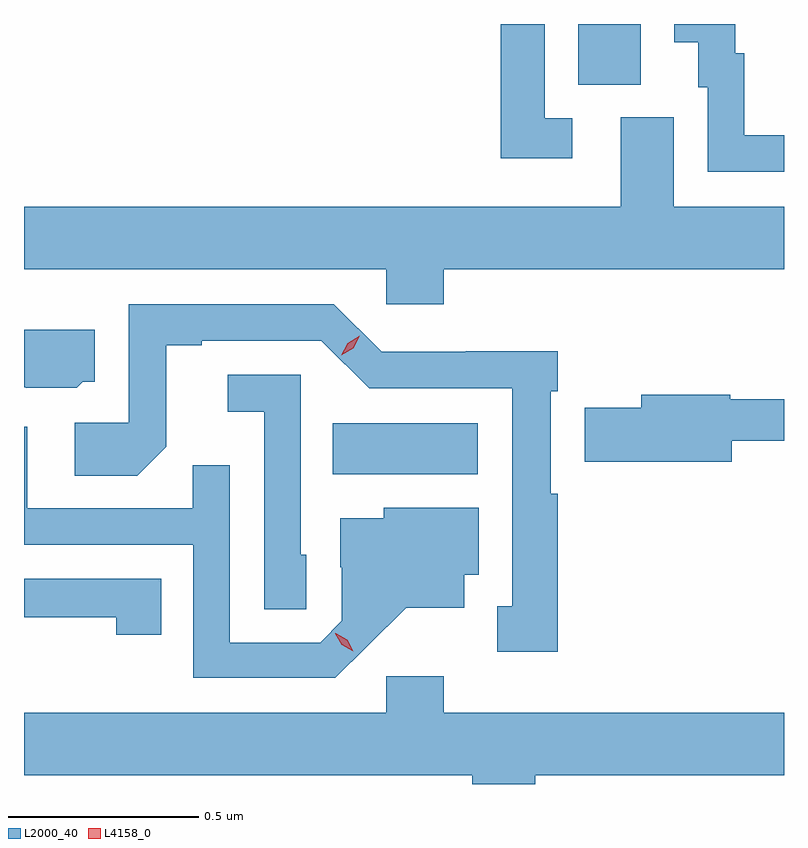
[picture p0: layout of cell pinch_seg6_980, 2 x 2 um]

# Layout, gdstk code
import gdstk
lib = gdstk.Library(unit=1e-6, precision=1e-09)
def R(c, l, rs):  # rectangles x0, y0, x1, y1
    for r in rs: c.add(gdstk.rectangle(r[:2], r[2:], *l))
def P(c, l, *ps):  # polygons
    for p in ps: c.add(gdstk.Polygon(p, *l))
L2000_40 = (2000, 40)
L4158_0 = (4158, 0)

pinch_seg6_980 = lib.new_cell('pinch_seg6_980')
R(pinch_seg6_980, L2000_40, [(331.618,938.804,331.999,938.938), (332.264,939.829,332.428,939.989)])
P(pinch_seg6_980, L2000_40, [(332.248,939.741),(332.175,939.741),(332.175,939.989),(332.059,939.989),(332.059,939.636),(332.248,939.636)],
  [(332.805,939.696),(332.701,939.696),(332.701,939.912),(332.677,939.912),(332.677,939.989),(332.516,939.989),(332.516,939.941),(332.579,939.941),(332.579,939.822),(332.604,939.822),(332.604,939.6),(332.805,939.6)],
  [(331.91,939.344),(332.805,939.344),(332.805,939.508),(332.515,939.508),(332.515,939.744),(332.375,939.744),(332.375,939.508),(330.805,939.508),(330.805,939.344),(331.758,939.344),(331.758,939.251),(331.91,939.251)],
  [(332.209,938.753),(332.191,938.753),(332.191,939.023),(332.209,939.023),(332.209,939.128),(331.968,939.128),(331.968,939.126),(331.746,939.126),(331.62,939.252),(331.08,939.252),(331.08,938.94),(330.939,938.94),(330.939,938.8),(331.103,938.8),(331.179,938.876),(331.179,939.144),(331.273,939.144),(331.273,939.156),(331.587,939.156),(331.713,939.03),(332.09,939.03),(332.09,938.457),(332.051,938.457),(332.051,938.337),(332.209,938.337)],
  [(330.96,939.048),(330.991,939.048),(330.991,939.184),(330.805,939.184),(330.805,939.033),(330.81,939.033),(330.81,939.032),(330.944,939.032)],
  [(331.548,938.592),(331.533,938.592),(331.533,939.066),(331.341,939.066),(331.341,938.969),(331.437,938.969),(331.437,938.449),(331.548,938.449)],
  [(332.668,938.892),(332.805,938.892),(332.805,939.001),(332.664,939.001),(332.664,939.013),(332.429,939.013),(332.429,938.979),(332.28,938.979),(332.28,938.837),(332.668,938.837)],
  [(331.708,938.351),(331.811,938.453),(331.963,938.453),(331.963,938.54),(332.002,938.54),(332.002,938.716),(331.752,938.716),(331.752,938.689),(331.637,938.689),(331.637,938.56),(331.641,938.56),(331.641,938.418),(331.584,938.361),(331.347,938.361),(331.347,938.828),(331.249,938.828),(331.249,938.715),(330.813,938.715),(330.813,938.929),(330.805,938.929),(330.805,938.619),(331.251,938.619),(331.251,938.268),(331.624,938.268)],
  [(331.166,938.529),(330.805,938.529),(330.805,938.428),(331.048,938.428),(331.048,938.382),(331.166,938.382)],
  [(332.15,938.012),(332.805,938.012),(332.805,938.176),(331.91,938.176),(331.91,938.272),(331.758,938.272),(331.758,938.176),(330.805,938.176),(330.805,938.012),(331.985,938.012),(331.985,937.989),(332.15,937.989)])
P(pinch_seg6_980, L4158_0, [(331.64,939.117),(331.64,939.117),(331.657,939.149),(331.688,939.169),(331.689,939.169),(331.689,939.168),(331.672,939.136),(331.64,939.117)],
  [(331.672,938.339),(331.641,938.355),(331.624,938.385),(331.624,938.386),(331.625,938.386),(331.655,938.369),(331.672,938.339),(331.672,938.339)])

lib.write_gds('pinch_seg6_980.gds')
